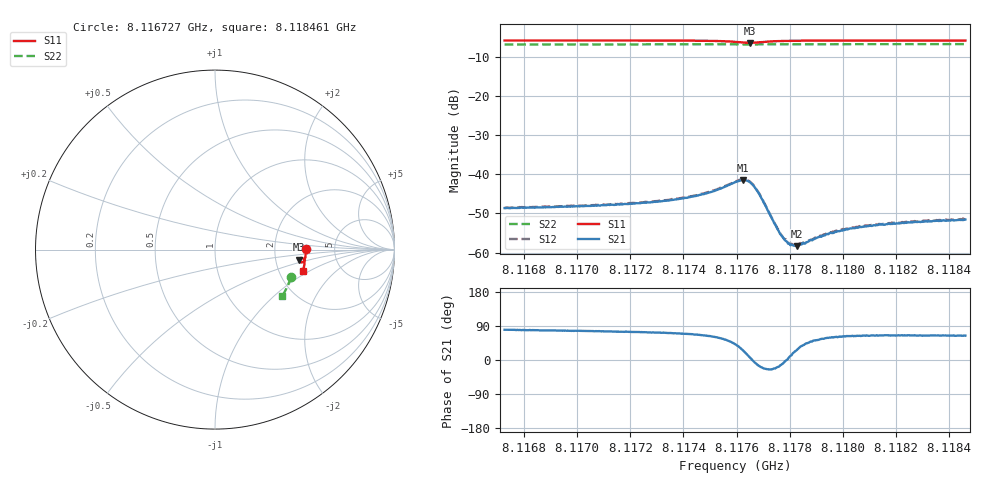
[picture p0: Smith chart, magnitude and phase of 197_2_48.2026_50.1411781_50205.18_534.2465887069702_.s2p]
#  HZ  S  RI  R  50.00
! Rohde & Schwarz Vector Network Analyzer
! Rohde-Schwarz,ZNB20-2Port,1311601062101988,3.16
! Created: UTC 3/20/2024, 11:44:52 AM
! freq[Hz]  re:S11  im:S11  re:S21  im:S21  re:S12  im:S12  re:S22  im:S22
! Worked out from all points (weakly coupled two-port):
!   401 points, 8.116727 GHz to 8.118461 GHz, reference 50 ohm
!   highest |S21| = -41.50 dB at 8.117624 GHz (marker M1); lowest = -58.4 dB at 8.117828 GHz (marker M2)
!   lowest |S11| = -6.5 dB at 8.11765 GHz (marker M3), VSWR 2.79, Z = 136 - j19.9 ohm
!   |S11| at or under -10 dB: nowhere
!   |S22| runs from -6.9 to -6.8 dB; largest |S21 - S12| = 0.0002
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8.1167271e9  0.5066 0.00392  0.000648 0.00363  0.000689 0.00369  0.4241 -0.1511
8.1170175e9  0.5057 -0.0187  0.000904 0.00384  0.00098 0.00384  0.4178 -0.1703
8.1173079e9  0.5031 -0.0427  0.00134 0.00426  0.00142 0.00436  0.4104 -0.1893
8.117451e9  0.4995 -0.0565  0.00209 0.00491  0.00215 0.00496  0.4063 -0.1985
8.1175204e9  0.4951 -0.0645  0.00304 0.00537  0.00314 0.00547  0.404 -0.203
8.1175941e9  0.4818 -0.0714  0.00588 0.00528  0.00603 0.00531  0.4014 -0.2078
8.1176244e9  0.4724 -0.0672  0.0076 0.0036  0.00778 0.0036  0.4002 -0.2092
8.1176374e9  0.4696 -0.0625  0.00795 0.00232  0.00814 0.00228  0.3997 -0.2096
8.1176504e9  0.4691 -0.0568  0.00783 0.000865  0.00799 0.000816  0.3994 -0.2102
8.1176677e9  0.4726 -0.0501  0.00679 -0.000741  0.00692 -0.000777  0.3992 -0.211
8.1176851e9  0.4785 -0.0466  0.00536 -0.00152  0.00546 -0.00159  0.399 -0.212
8.1177501e9  0.494 -0.0525  0.00199 -0.00072  0.00202 -0.000768  0.3977 -0.2163
8.1177718e9  0.496 -0.0559  0.00157 -0.000293  0.0016 -0.000305  0.3971 -0.2178
8.1177978e9  0.4974 -0.0598  0.00129 0.000168  0.00129 0.000154  0.3963 -0.2194
8.1178108e9  0.4978 -0.0615  0.00118 0.000364  0.00122 0.000373  0.3958 -0.2203
8.1178281e9  0.4983 -0.0637  0.00107 0.000557  0.00111 0.000557  0.3954 -0.2215
8.1178845e9  0.4987 -0.0702  0.00094 0.00108  0.000975 0.0011  0.3936 -0.2252
8.1179452e9  0.4985 -0.0762  0.000901 0.00146  0.000919 0.00154  0.3916 -0.2289
8.1179929e9  0.4981 -0.0806  0.000918 0.00167  0.000928 0.00171  0.39 -0.2319
8.1180666e9  0.4972 -0.087  0.000953 0.0019  0.000936 0.00191  0.3877 -0.2366
8.1181749e9  0.4957 -0.0959  0.000989 0.0021  0.00104 0.00215  0.3839 -0.2432
8.118461e9  0.4911 -0.1178  0.00115 0.00238  0.00119 0.00239  0.3735 -0.2605
